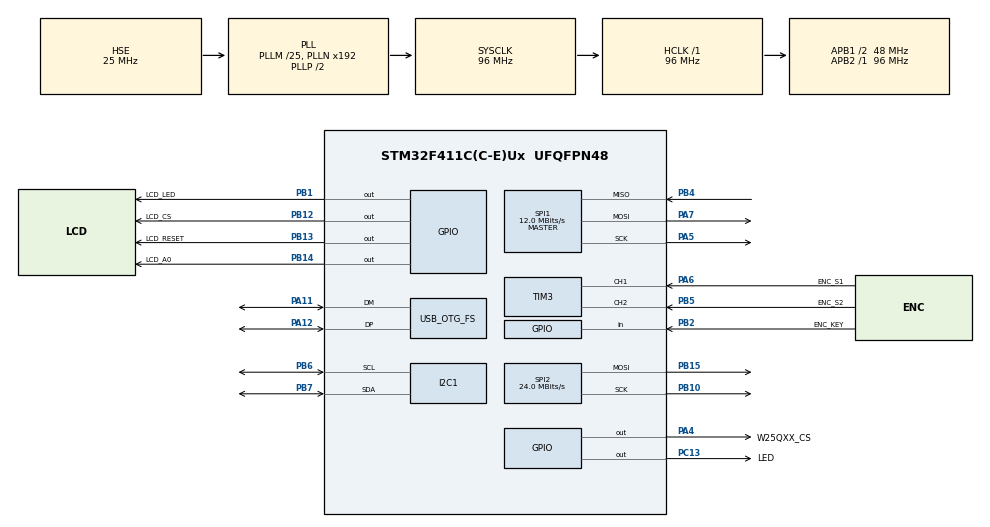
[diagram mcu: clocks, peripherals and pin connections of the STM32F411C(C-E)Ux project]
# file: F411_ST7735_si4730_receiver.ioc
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Mcu.Family=STM32F4
Mcu.Name=STM32F411C(C-E)Ux
Mcu.Package=UFQFPN48
NVIC.OTG_FS_IRQn=true\:0\:0\:false\:false\:true\:false\:true\:true
NVIC.PriorityGroup=NVIC_PRIORITYGROUP_4
PA11.Mode=Device_Only
PA11.Signal=USB_OTG_FS_DM
PA12.Mode=Device_Only
PA12.Signal=USB_OTG_FS_DP
PA13.Mode=Serial_Wire
PA13.Signal=SYS_JTMS-SWDIO
PA14.Mode=Serial_Wire
PA14.Signal=SYS_JTCK-SWCLK
PA4.GPIO_Label=W25QXX_CS
PA4.Signal=GPIO_Output
PA5.Mode=Full_Duplex_Master
PA5.Signal=SPI1_SCK
PA6.GPIO_Label=ENC_S1
PA6.GPIO_PuPd=GPIO_PULLUP
PA6.Signal=S_TIM3_CH1
PA7.Mode=Full_Duplex_Master
PA7.Signal=SPI1_MOSI
PB1.GPIO_Label=LCD_LED
PB1.GPIO_Speed=GPIO_SPEED_FREQ_HIGH
PB1.PinState=GPIO_PIN_SET
PB1.Signal=GPIO_Output
PB10.Mode=TX_Only_Simplex_Unidirect_Master
PB10.Signal=SPI2_SCK
PB12.GPIO_Label=LCD_CS
PB12.GPIO_Speed=GPIO_SPEED_FREQ_HIGH
PB12.Signal=GPIO_Output
PB13.GPIO_Label=LCD_RESET
PB13.GPIO_Speed=GPIO_SPEED_FREQ_HIGH
PB13.Signal=GPIO_Output
PB14.GPIO_Label=LCD_A0
PB14.GPIO_Speed=GPIO_SPEED_FREQ_HIGH
PB14.Signal=GPIO_Output
PB15.Mode=TX_Only_Simplex_Unidirect_Master
PB15.Signal=SPI2_MOSI
PB2.GPIO_Label=ENC_KEY
PB2.Signal=GPIO_Input
PB4.Mode=Full_Duplex_Master
PB4.Signal=SPI1_MISO
PB5.GPIO_Label=ENC_S2
PB5.GPIO_PuPd=GPIO_PULLUP
PB5.Signal=S_TIM3_CH2
PB6.Mode=I2C
PB6.Signal=I2C1_SCL
PB7.Mode=I2C
PB7.Signal=I2C1_SDA
PC13-ANTI_TAMP.GPIO_Label=LED
PC13-ANTI_TAMP.Signal=GPIO_Output
PC14-OSC32_IN.Mode=LSE-External-Oscillator
PC14-OSC32_IN.Signal=RCC_OSC32_IN
PC15-OSC32_OUT.Mode=LSE-External-Oscillator
PC15-OSC32_OUT.Signal=RCC_OSC32_OUT
PH0\ -\ OSC_IN.Mode=HSE-External-Oscillator
PH0\ -\ OSC_IN.Signal=RCC_OSC_IN
PH1\ -\ OSC_OUT.Mode=HSE-External-Oscillator
PH1\ -\ OSC_OUT.Signal=RCC_OSC_OUT
ProjectManager.HeapSize=0x1000
ProjectManager.StackSize=0x4000
ProjectManager.TargetToolchain=STM32CubeIDE
RCC.48MHZClocksFreq_Value=48000000
RCC.AHBFreq_Value=96000000
RCC.APB1CLKDivider=RCC_HCLK_DIV2
RCC.APB1Freq_Value=48000000
RCC.APB1TimFreq_Value=96000000
RCC.APB2Freq_Value=96000000
RCC.APB2TimFreq_Value=96000000
RCC.CortexFreq_Value=96000000
RCC.EnbaleCSS=true
RCC.HCLKFreq_Value=96000000
RCC.HSE_VALUE=25000000
RCC.HSI_VALUE=16000000
RCC.LockedElements=USBOTGOutput
RCC.PLLM=25
RCC.RCC_RTC_Clock_Source=RCC_RTCCLKSOURCE_LSE
RCC.RCC_RTC_Clock_SourceVirtual=RCC_RTCCLKSOURCE_LSE
RCC.SYSCLKFreq_VALUE=96000000
RCC.SYSCLKSource=RCC_SYSCLKSOURCE_PLLCLK
RCC.VCOOutputFreq_Value=192000000
SH.S_TIM3_CH1.0=TIM3_CH1,Encoder_Interface
SH.S_TIM3_CH2.0=TIM3_CH2,Encoder_Interface
SPI1.BaudRatePrescaler=SPI_BAUDRATEPRESCALER_8
SPI1.CalculateBaudRate=12.0 MBits/s
SPI1.Direction=SPI_DIRECTION_2LINES
SPI1.Mode=SPI_MODE_MASTER
SPI1.VirtualType=VM_MASTER
SPI2.BaudRatePrescaler=SPI_BAUDRATEPRESCALER_2
SPI2.CalculateBaudRate=24.0 MBits/s
SPI2.DataSize=SPI_DATASIZE_8BIT
SPI2.Direction=SPI_DIRECTION_2LINES
SPI2.Mode=SPI_MODE_MASTER
SPI2.VirtualType=VM_MASTER
USB_DEVICE.CLASS_NAME_FS=CDC
USB_DEVICE.VirtualMode=Cdc
USB_DEVICE.VirtualModeFS=Cdc_FS
USB_OTG_FS.VirtualMode=Device_Only
VP_RTC_VS_RTC_Activate.Mode=RTC_Enabled
VP_USB_DEVICE_VS_USB_DEVICE_CDC_FS.Mode=CDC_FS
board=custom

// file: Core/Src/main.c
/* USER CODE BEGIN Header */
/**
 ******************************************************************************
 * @file           : main.c
 * @brief          : Main program body
 ******************************************************************************
 * @attention
 *
 * Copyright (c) 2022 STMicroelectronics.
 * All rights reserved.
 *
 * This software is licensed under terms that can be found in the LICENSE file
 * in the root directory of this software component.
 * If no LICENSE file comes with this software, it is provided AS-IS.
 *
 ******************************************************************************
 */
/* USER CODE END Header */
#include "main.h"
#include "i2c.h"
#include "rtc.h"
#include "spi.h"
#include "tim.h"
#include "usb_device.h"
#include "gpio.h"

/* USER CODE BEGIN Includes */
#include <stdio.h>
#include <string.h>
#include <ui.h>
#include "st7735.h"

#include "delay.h"
#include "../lvgl/lvgl.h"
/* USER CODE END Includes */

void SystemClock_Config(void);
/* USER CODE BEGIN PFP */
uint8_t CDC_Transmit_FS(uint8_t* Buf, uint16_t Len);

/* USER CODE END PFP */

/* USER CODE BEGIN 0 */

void lcd_flush_cb(lv_disp_drv_t * disp_drv, const lv_area_t * area, lv_color_t * color_p)
{
    /*The most simple case (but also the slowest) to put all pixels to the screen one-by-one
     *`put_px` is just an example, it needs to implemented by you.*/
    int32_t x, y;
    for(y = area->y1; y <= area->y2; y++) {
        for(x = area->x1; x <= area->x2; x++) {
        	ST7735_DrawPixel(x, y, color_p->full);
            color_p++;
        }
    }

    /* IMPORTANT!!!
     * Inform the graphics library that you are ready with the flushing*/
    lv_disp_flush_ready(disp_drv);
}
void Display_Init() {
	ST7735_Init();
	ST7735_SetRotation(1);
	//ST7735_FillScreen(ST7735_BLACK);
	lv_init();
    static lv_disp_draw_buf_t disp_buf;
    static lv_color_t buf_1[ST7735_HEIGHT * 16]; /*A buffer for 10 rows*/
    static lv_color_t buf_2[ST7735_HEIGHT * 16]; /*A buffer for 10 rows*/
    lv_disp_draw_buf_init(&disp_buf, buf_1, buf_2, ST7735_HEIGHT * 2);   /*Initialize the display buffer*/

	static lv_disp_drv_t disp_drv;          /*A variable to hold the drivers. Must be static or global.*/
	lv_disp_drv_init(&disp_drv);            /*Basic initialization*/
	disp_drv.draw_buf = &disp_buf;          /*Set an initialized buffer*/
	disp_drv.flush_cb = lcd_flush_cb;        /*Set a flush callback to draw to the display*/
	disp_drv.hor_res = ST7735_HEIGHT;                 /*Set the horizontal resolution in pixels*/
	disp_drv.ver_res = ST7735_WIDTH;                 /*Set the vertical resolution in pixels*/
	lv_disp_drv_register(&disp_drv); /*Register the driver and save the created display objects*/
}

/* USER CODE END 0 */

int main(void)
{

  /* MCU Configuration--------------------------------------------------------*/

  /* Reset of all peripherals, Initializes the Flash interface and the Systick. */
  HAL_Init();

  /* Configure the system clock */
  SystemClock_Config();

  /* Initialize all configured peripherals */
  MX_GPIO_Init();
  MX_SPI2_Init();
  MX_I2C1_Init();
  MX_RTC_Init();
  MX_USB_DEVICE_Init();
  MX_SPI1_Init();
  MX_TIM3_Init();
  /* USER CODE BEGIN 2 */
  HAL_TIM_Encoder_Start(&htim3,TIM_CHANNEL_ALL);
  Display_Init();
  delayInit();
  /*Show Main Screen */
  main_screen();
  lv_label_set_text(bottom_text_label, "#00ff00 Radio Data System (RDS) is a communications protocol standard for embedding small amounts of digital information in conventional FM radio broadcasts.");
  /* USER CODE END 2 */

  /* Infinite loop */
  /* USER CODE BEGIN WHILE */
	int32_t prevCounter = 0;
	uint16_t cFreq = 0;
	char buffer[10];
	while (1) {
		lv_tick_inc(1);
	    int currCounter = __HAL_TIM_GET_COUNTER(&htim3);
	    currCounter = 32767 - ((currCounter-1) & 0xFFFF) / 2;
	    if(currCounter != prevCounter) {
			if (currCounter > prevCounter) {
				cFreq += 1;
				snprintf(buffer, 6, "%d\n", cFreq);
				lv_label_set_text(frequency_label, buffer);
				printf("up\n\r");
			} else if (currCounter < prevCounter) {
				cFreq -= 1;
				snprintf(buffer, 6, "%d\n", cFreq);
				lv_label_set_text(frequency_label, buffer);
				printf("dn\n\r");
			} else {

			}
	    	HAL_GPIO_TogglePin(GPIOC, GPIO_PIN_13);
	        prevCounter = currCounter;
	    }
		//printf("Hello World\n\r");
        //delayMs(5000);
    /* USER CODE END WHILE */

	}
}

void SystemClock_Config(void)
{
  RCC_OscInitTypeDef RCC_OscInitStruct = {0};
  RCC_ClkInitTypeDef RCC_ClkInitStruct = {0};

  /** Configure the main internal regulator output voltage
  */
  __HAL_RCC_PWR_CLK_ENABLE();
  __HAL_PWR_VOLTAGESCALING_CONFIG(PWR_REGULATOR_VOLTAGE_SCALE1);

  /** Initializes the RCC Oscillators according to the specified parameters
  * in the RCC_OscInitTypeDef structure.
  */
  RCC_OscInitStruct.OscillatorType = RCC_OSCILLATORTYPE_HSE|RCC_OSCILLATORTYPE_LSE;
  RCC_OscInitStruct.HSEState = RCC_HSE_ON;
  RCC_OscInitStruct.LSEState = RCC_LSE_ON;
  RCC_OscInitStruct.PLL.PLLState = RCC_PLL_ON;
  RCC_OscInitStruct.PLL.PLLSource = RCC_PLLSOURCE_HSE;
  RCC_OscInitStruct.PLL.PLLM = 25;
  RCC_OscInitStruct.PLL.PLLN = 192;
  RCC_OscInitStruct.PLL.PLLP = RCC_PLLP_DIV2;
  RCC_OscInitStruct.PLL.PLLQ = 4;
  if (HAL_RCC_OscConfig(&RCC_OscInitStruct) != HAL_OK)
  {
    Error_Handler();
  }

  /** Initializes the CPU, AHB and APB buses clocks
  */
  RCC_ClkInitStruct.ClockType = RCC_CLOCKTYPE_HCLK|RCC_CLOCKTYPE_SYSCLK
                              |RCC_CLOCKTYPE_PCLK1|RCC_CLOCKTYPE_PCLK2;
  RCC_ClkInitStruct.SYSCLKSource = RCC_SYSCLKSOURCE_PLLCLK;
  RCC_ClkInitStruct.AHBCLKDivider = RCC_SYSCLK_DIV1;
  RCC_ClkInitStruct.APB1CLKDivider = RCC_HCLK_DIV2;
  RCC_ClkInitStruct.APB2CLKDivider = RCC_HCLK_DIV1;

  if (HAL_RCC_ClockConfig(&RCC_ClkInitStruct, FLASH_LATENCY_3) != HAL_OK)
  {
    Error_Handler();
  }

  /** Enables the Clock Security System
  */
  HAL_RCC_EnableCSS();
}

/* USER CODE BEGIN 4 */
int _write(int file, char *ptr, int len) {
    CDC_Transmit_FS((uint8_t*) ptr, len); return len;
}
/* USER CODE END 4 */

void Error_Handler(void)
{
	__disable_irq();
	while (1) {
	}
}
